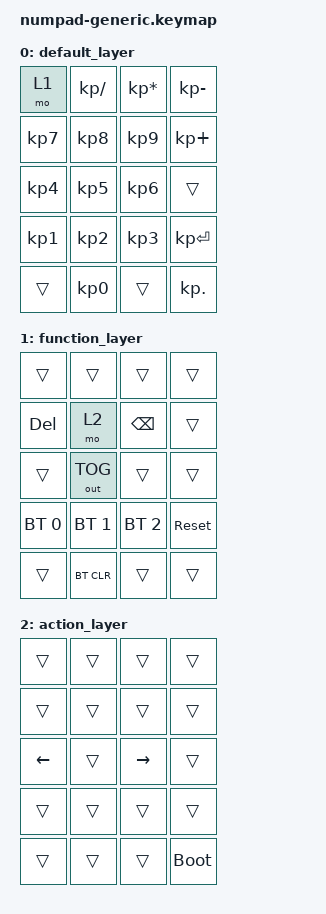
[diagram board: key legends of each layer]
#include <behaviors.dtsi>
#include <dt-bindings/zmk/keys.h>
#include <dt-bindings/zmk/bt.h>
#include <dt-bindings/zmk/outputs.h>




// ------------------default-----------------
// | LAYERSFT |    /    |    *    |    -    |
// |    7     |    8    |    9    |    +    |
// |    4     |    5    |    6    |   NOP   |
// |    1     |    2    |    3    |  ENTER  |
// |   NOP    |    0    |   NOP   |    .    |


// ----------------------------functions-------------------------------
// |  LAYERSFT  |    NOP             |    NOP    |   Bluetooth PREV   |
// |    NOP     |    NOP             |    NOP    |   Bluetooth Next   |
// |    NOP     |    OUT_TOG         |    NOP    |   NOP              |
// |Bluetooth 0 |    Bluetooth 1     |Bluetooth 2|   reset            |
// |    NOP     |    BluetoothCLR    |    NOP    |   bootloader       |

/ {
    keymap {
        compatible = "zmk,keymap";

        default_layer {
            bindings = <
    &mo 1         &kp KP_DIVIDE  &kp KP_MULTIPLY   &kp KP_MINUS
    &kp KP_N7     &kp KP_N8      &kp KP_N9         &kp KP_PLUS
    &kp KP_N4     &kp KP_N5      &kp KP_N6         &trans
    &kp KP_N1     &kp KP_N2      &kp KP_N3         &kp KP_ENTER
    &trans        &kp KP_N0      &trans            &kp KP_DOT 
            >;
        };
        function_layer {
            bindings = <
    &trans       &trans          &trans       &trans
    &kp DEL      &mo 2           &kp BSPC     &trans
    &trans       &out OUT_TOG    &trans       &trans
    &bt BT_SEL 0 &bt BT_SEL 1    &bt BT_SEL 2 &sys_reset
    &trans       &bt BT_CLR      &trans       &trans
            >;
        };
        action_layer {
            bindings = <
    &trans       &trans          &trans       &trans
    &trans       &trans          &trans       &trans
    &kp LEFT     &trans          &kp RIGHT       &trans
    &trans       &trans          &trans       &trans
    &trans       &trans          &trans       &bootloader
            >;
        };
    };
};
